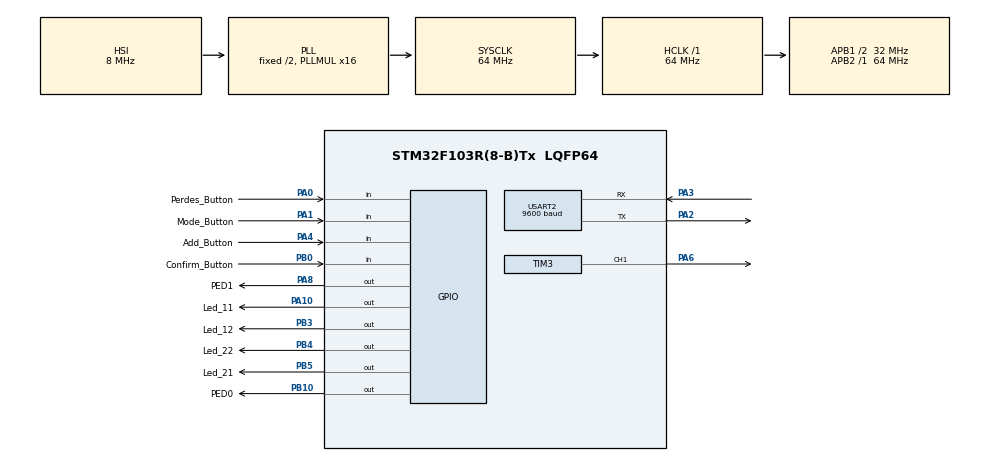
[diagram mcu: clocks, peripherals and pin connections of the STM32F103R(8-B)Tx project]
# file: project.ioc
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Mcu.Family=STM32F1
Mcu.Name=STM32F103R(8-B)Tx
Mcu.Package=LQFP64
NVIC.PriorityGroup=NVIC_PRIORITYGROUP_4
NVIC.TIM1_UP_IRQn=true\:15\:0\:false\:false\:true\:false\:true\:true
NVIC.TIM2_IRQn=true\:0\:0\:false\:false\:true\:true\:true\:true
NVIC.TIM3_IRQn=true\:0\:0\:false\:false\:true\:true\:true\:true
NVIC.TimeBase=TIM1_UP_IRQn
NVIC.TimeBaseIP=TIM1
NVIC.USART2_IRQn=true\:0\:0\:false\:false\:true\:true\:true\:true
PA0-WKUP.GPIO_Label=Perdes_Button
PA0-WKUP.GPIO_PuPd=GPIO_PULLUP
PA0-WKUP.Signal=GPIO_Input
PA1.GPIO_Label=Mode_Button
PA1.GPIO_PuPd=GPIO_PULLUP
PA1.Signal=GPIO_Input
PA10.GPIO_Label=Led_11
PA10.Signal=GPIO_Output
PA13.Mode=Serial_Wire
PA13.Signal=SYS_JTMS-SWDIO
PA14.Mode=Serial_Wire
PA14.Signal=SYS_JTCK-SWCLK
PA2.Mode=Asynchronous
PA2.Signal=USART2_TX
PA3.Mode=Asynchronous
PA3.Signal=USART2_RX
PA4.GPIO_Label=Add_Button
PA4.GPIO_PuPd=GPIO_PULLUP
PA4.Signal=GPIO_Input
PA6.Signal=S_TIM3_CH1
PA8.GPIO_Label=PED1
PA8.Signal=GPIO_Output
PB0.GPIO_Label=Confirm_Button
PB0.GPIO_PuPd=GPIO_PULLUP
PB0.Signal=GPIO_Input
PB10.GPIO_Label=PED0
PB10.Signal=GPIO_Output
PB3.GPIO_Label=Led_12
PB3.Signal=GPIO_Output
PB4.GPIO_Label=Led_22
PB4.Signal=GPIO_Output
PB5.GPIO_Label=Led_21
PB5.Signal=GPIO_Output
ProjectManager.HeapSize=0x200
ProjectManager.StackSize=0x400
ProjectManager.TargetToolchain=STM32CubeIDE
RCC.AHBFreq_Value=64000000
RCC.APB1CLKDivider=RCC_HCLK_DIV2
RCC.APB1Freq_Value=32000000
RCC.APB1TimFreq_Value=64000000
RCC.APB2Freq_Value=64000000
RCC.APB2TimFreq_Value=64000000
RCC.HCLKFreq_Value=64000000
RCC.PLLMUL=RCC_PLL_MUL16
RCC.SYSCLKFreq_VALUE=64000000
RCC.SYSCLKSource=RCC_SYSCLKSOURCE_PLLCLK
RCC.USBFreq_Value=64000000
SH.S_TIM3_CH1.0=TIM3_CH1,PWM Generation1 CH1
TIM2.Period=9
TIM2.Prescaler=63999
TIM3.Channel-PWM\ Generation1\ CH1=TIM_CHANNEL_1
TIM3.Period=9
TIM3.Prescaler=63999
USART2.BaudRate=9600
USART2.VirtualMode=VM_ASYNC
VP_SYS_VS_tim1.Mode=TIM1
VP_TIM2_VS_ClockSourceINT.Mode=Internal
VP_TIM3_VS_ClockSourceINT.Mode=Internal
board=custom

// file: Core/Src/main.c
/* USER CODE BEGIN Header */
/**
  ******************************************************************************
  * @file           : main.c
  * @brief          : Main program body
  ******************************************************************************
  * @attention
  *
  * Copyright (c) 2022 STMicroelectronics.
  * All rights reserved.
  *
  * This software is licensed under terms that can be found in the LICENSE file
  * in the root directory of this software component.
  * If no LICENSE file comes with this software, it is provided AS-IS.
  *
  ******************************************************************************
  */
/* USER CODE END Header */
#include "main.h"

/* USER CODE BEGIN PTD */
int currentMode = AUTO;
int pivot[4] = {700, 300, 700, 300};
int state = STATE0;
int tempDuration = 0;
int timeRed = 1000;
int timeYellow = 300;
int timeGreen = 700;
int currentTick = 700;
int pedestrianFlag = 0;
char msg[20];
int noTasks;
/* USER CODE END PTD */

TIM_HandleTypeDef htim2;
TIM_HandleTypeDef htim3;

UART_HandleTypeDef huart2;

void SystemClock_Config(void);
static void MX_GPIO_Init(void);
static void MX_TIM2_Init(void);
static void MX_TIM3_Init(void);
static void MX_USART2_UART_Init(void);

int main(void)
{

  /* MCU Configuration--------------------------------------------------------*/

  /* Reset of all peripherals, Initializes the Flash interface and the Systick. */
  HAL_Init();

  /* Configure the system clock */
  SystemClock_Config();

  /* Initialize all configured peripherals */
  MX_GPIO_Init();
  MX_TIM2_Init();
  MX_TIM3_Init();
  MX_USART2_UART_Init();
  /* USER CODE BEGIN 2 */
	  HAL_TIM_Base_Start_IT(&htim2);
	  HAL_TIM_PWM_Start(&htim3, TIM_CHANNEL_1);
	  SCH_init();
	  init_task();
	  sprintf(msg, "!%d#\r\n", currentTick);
	  HAL_UART_Transmit(&huart2, (uint8_t *)msg, sizeof(msg), 50);
  /* USER CODE END 2 */

  /* Infinite loop */
  /* USER CODE BEGIN WHILE */
	  while (1)
	  {
	    SCH_dispatch_tasks();
    /* USER CODE END WHILE */

	  }
}

void SystemClock_Config(void)
{
  RCC_OscInitTypeDef RCC_OscInitStruct = {0};
  RCC_ClkInitTypeDef RCC_ClkInitStruct = {0};

  /** Initializes the RCC Oscillators according to the specified parameters
  * in the RCC_OscInitTypeDef structure.
  */
  RCC_OscInitStruct.OscillatorType = RCC_OSCILLATORTYPE_HSI;
  RCC_OscInitStruct.HSIState = RCC_HSI_ON;
  RCC_OscInitStruct.HSICalibrationValue = RCC_HSICALIBRATION_DEFAULT;
  RCC_OscInitStruct.PLL.PLLState = RCC_PLL_ON;
  RCC_OscInitStruct.PLL.PLLSource = RCC_PLLSOURCE_HSI_DIV2;
  RCC_OscInitStruct.PLL.PLLMUL = RCC_PLL_MUL16;
  if (HAL_RCC_OscConfig(&RCC_OscInitStruct) != HAL_OK)
  {
    Error_Handler();
  }

  /** Initializes the CPU, AHB and APB buses clocks
  */
  RCC_ClkInitStruct.ClockType = RCC_CLOCKTYPE_HCLK|RCC_CLOCKTYPE_SYSCLK
                              |RCC_CLOCKTYPE_PCLK1|RCC_CLOCKTYPE_PCLK2;
  RCC_ClkInitStruct.SYSCLKSource = RCC_SYSCLKSOURCE_PLLCLK;
  RCC_ClkInitStruct.AHBCLKDivider = RCC_SYSCLK_DIV1;
  RCC_ClkInitStruct.APB1CLKDivider = RCC_HCLK_DIV2;
  RCC_ClkInitStruct.APB2CLKDivider = RCC_HCLK_DIV1;

  if (HAL_RCC_ClockConfig(&RCC_ClkInitStruct, FLASH_LATENCY_2) != HAL_OK)
  {
    Error_Handler();
  }
}

static void MX_TIM2_Init(void)
{

  TIM_ClockConfigTypeDef sClockSourceConfig = {0};
  TIM_MasterConfigTypeDef sMasterConfig = {0};

  htim2.Instance = TIM2;
  htim2.Init.Prescaler = 63999;
  htim2.Init.CounterMode = TIM_COUNTERMODE_UP;
  htim2.Init.Period = 9;
  htim2.Init.ClockDivision = TIM_CLOCKDIVISION_DIV1;
  htim2.Init.AutoReloadPreload = TIM_AUTORELOAD_PRELOAD_DISABLE;
  if (HAL_TIM_Base_Init(&htim2) != HAL_OK)
  {
    Error_Handler();
  }
  sClockSourceConfig.ClockSource = TIM_CLOCKSOURCE_INTERNAL;
  if (HAL_TIM_ConfigClockSource(&htim2, &sClockSourceConfig) != HAL_OK)
  {
    Error_Handler();
  }
  sMasterConfig.MasterOutputTrigger = TIM_TRGO_RESET;
  sMasterConfig.MasterSlaveMode = TIM_MASTERSLAVEMODE_DISABLE;
  if (HAL_TIMEx_MasterConfigSynchronization(&htim2, &sMasterConfig) != HAL_OK)
  {
    Error_Handler();
  }

}

static void MX_TIM3_Init(void)
{

  TIM_ClockConfigTypeDef sClockSourceConfig = {0};
  TIM_MasterConfigTypeDef sMasterConfig = {0};
  TIM_OC_InitTypeDef sConfigOC = {0};

  htim3.Instance = TIM3;
  htim3.Init.Prescaler = 63999;
  htim3.Init.CounterMode = TIM_COUNTERMODE_UP;
  htim3.Init.Period = 9;
  htim3.Init.ClockDivision = TIM_CLOCKDIVISION_DIV1;
  htim3.Init.AutoReloadPreload = TIM_AUTORELOAD_PRELOAD_DISABLE;
  if (HAL_TIM_Base_Init(&htim3) != HAL_OK)
  {
    Error_Handler();
  }
  sClockSourceConfig.ClockSource = TIM_CLOCKSOURCE_INTERNAL;
  if (HAL_TIM_ConfigClockSource(&htim3, &sClockSourceConfig) != HAL_OK)
  {
    Error_Handler();
  }
  if (HAL_TIM_PWM_Init(&htim3) != HAL_OK)
  {
    Error_Handler();
  }
  sMasterConfig.MasterOutputTrigger = TIM_TRGO_RESET;
  sMasterConfig.MasterSlaveMode = TIM_MASTERSLAVEMODE_DISABLE;
  if (HAL_TIMEx_MasterConfigSynchronization(&htim3, &sMasterConfig) != HAL_OK)
  {
    Error_Handler();
  }
  sConfigOC.OCMode = TIM_OCMODE_PWM1;
  sConfigOC.Pulse = 0;
  sConfigOC.OCPolarity = TIM_OCPOLARITY_HIGH;
  sConfigOC.OCFastMode = TIM_OCFAST_DISABLE;
  if (HAL_TIM_PWM_ConfigChannel(&htim3, &sConfigOC, TIM_CHANNEL_1) != HAL_OK)
  {
    Error_Handler();
  }
  HAL_TIM_MspPostInit(&htim3);

}

static void MX_USART2_UART_Init(void)
{

  huart2.Instance = USART2;
  huart2.Init.BaudRate = 9600;
  huart2.Init.WordLength = UART_WORDLENGTH_8B;
  huart2.Init.StopBits = UART_STOPBITS_1;
  huart2.Init.Parity = UART_PARITY_NONE;
  huart2.Init.Mode = UART_MODE_TX_RX;
  huart2.Init.HwFlowCtl = UART_HWCONTROL_NONE;
  huart2.Init.OverSampling = UART_OVERSAMPLING_16;
  if (HAL_UART_Init(&huart2) != HAL_OK)
  {
    Error_Handler();
  }

}

static void MX_GPIO_Init(void)
{
  GPIO_InitTypeDef GPIO_InitStruct = {0};

  /* GPIO Ports Clock Enable */
  __HAL_RCC_GPIOA_CLK_ENABLE();
  __HAL_RCC_GPIOB_CLK_ENABLE();

  /*Configure GPIO pin Output Level */
  HAL_GPIO_WritePin(GPIOB, PED0_Pin|Led_12_Pin|Led_22_Pin|Led_21_Pin, GPIO_PIN_RESET);

  /*Configure GPIO pin Output Level */
  HAL_GPIO_WritePin(GPIOA, PED1_Pin|Led_11_Pin, GPIO_PIN_RESET);

  /*Configure GPIO pins : Perdes_Button_Pin Mode_Button_Pin Add_Button_Pin */
  GPIO_InitStruct.Pin = Perdes_Button_Pin|Mode_Button_Pin|Add_Button_Pin;
  GPIO_InitStruct.Mode = GPIO_MODE_INPUT;
  GPIO_InitStruct.Pull = GPIO_PULLUP;
  HAL_GPIO_Init(GPIOA, &GPIO_InitStruct);

  /*Configure GPIO pin : Confirm_Button_Pin */
  GPIO_InitStruct.Pin = Confirm_Button_Pin;
  GPIO_InitStruct.Mode = GPIO_MODE_INPUT;
  GPIO_InitStruct.Pull = GPIO_PULLUP;
  HAL_GPIO_Init(Confirm_Button_GPIO_Port, &GPIO_InitStruct);

  /*Configure GPIO pins : PED0_Pin Led_12_Pin Led_22_Pin Led_21_Pin */
  GPIO_InitStruct.Pin = PED0_Pin|Led_12_Pin|Led_22_Pin|Led_21_Pin;
  GPIO_InitStruct.Mode = GPIO_MODE_OUTPUT_PP;
  GPIO_InitStruct.Pull = GPIO_NOPULL;
  GPIO_InitStruct.Speed = GPIO_SPEED_FREQ_LOW;
  HAL_GPIO_Init(GPIOB, &GPIO_InitStruct);

  /*Configure GPIO pins : PED1_Pin Led_11_Pin */
  GPIO_InitStruct.Pin = PED1_Pin|Led_11_Pin;
  GPIO_InitStruct.Mode = GPIO_MODE_OUTPUT_PP;
  GPIO_InitStruct.Pull = GPIO_NOPULL;
  GPIO_InitStruct.Speed = GPIO_SPEED_FREQ_LOW;
  HAL_GPIO_Init(GPIOA, &GPIO_InitStruct);

}

void HAL_TIM_PeriodElapsedCallback(TIM_HandleTypeDef *htim)
{
  /* USER CODE BEGIN Callback 0 */
	if(htim->Instance == TIM2)
	{
		SCH_update();
	}
  /* USER CODE END Callback 0 */
  if (htim->Instance == TIM1) {
    HAL_IncTick();
  }
}

void Error_Handler(void)
{
  __disable_irq();
  while (1)
  {
  }
}
